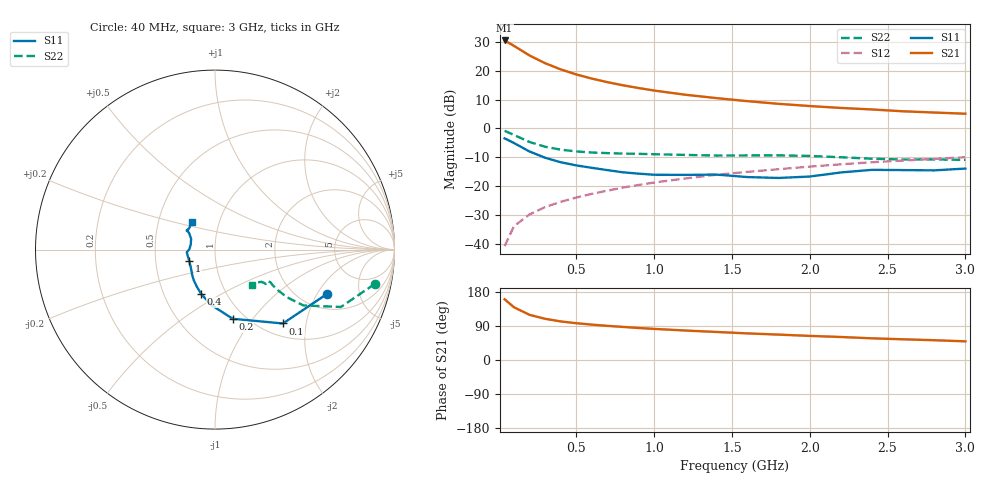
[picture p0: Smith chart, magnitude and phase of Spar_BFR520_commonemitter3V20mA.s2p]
! Filename:  BFR520E.S2P  Version:  2.1
! NXP part #: BFR520  Date: Sep 1991
! Bias condition: Vce=3V, Ic=20mA
#  MHz  S  MA  R  50
! Freq  S11  S21  S12  S22  !GUM [dB]
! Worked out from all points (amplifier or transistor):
!   21 points, 40 MHz to 3 GHz, reference 50 ohm
!   highest |S21| = 30.6 dB at 40 MHz (marker M1)
!   |S21| within 3 dB of that: start of sweep to 133.7 MHz
!   unconditionally stable (mu >= 1): 780.2 MHz to end of sweep
!   at 300 MHz: K = 0.80, MSG = 25.0 dB, |S12| = -27.3 dB
!   at 1 GHz: K = 1.02, MAG = 15.1 dB, |S12| = -18.8 dB
!   at 3 GHz: K = 1.01, MAG = 7.0 dB, |S12| = -10.0 dB
!   lowest NFmin = 1.45 dB at 500 MHz
!   S11 on the Smith chart (normalised r, x): 40 MHz: 2.74, -2.46; 100 MHz: 1.24, -1.48; 200 MHz: 0.88, -0.80; 400 MHz: 0.76, -0.41; 1 GHz: 0.74, -0.10; 3 GHz: 0.74, +0.24
40  0.673 -21.4  33.85 160.2  0.009 79.8  0.911 -12.1
100  0.559 -47.4  27.29 139.2  0.02 71.7  0.771 -24.5
200  0.398 -75.6  18.57 119.2  0.032 68.0  0.582 -32.3
300  0.31 -93.7  13.63 108.7  0.043 68.9  0.482 -33.5
400  0.259 -107.3  10.65 101.8  0.053 70.4  0.428 -33.0
500  0.228 -116.8  8.69 97.1  0.063 71.2  0.399 -32.4
600  0.207 -125.0  7.358 93.4  0.073 72.2  0.382 -31.9
700  0.189 -132.4  6.382 90.1  0.083 73.1  0.373 -31.5
800  0.173 -139.8  5.631 87.3  0.094 73.5  0.366 -30.9
900  0.164 -146.8  5.048 84.5  0.104 73.5  0.362 -30.7
1000  0.157 -155.3  4.563 82.1  0.115 73.9  0.357 -30.5
1200  0.156 -167.5  3.859 77.8  0.135 73.4  0.347 -30.8
1400  0.158 -174.5  3.37 74.0  0.157 72.7  0.338 -32.4
1600  0.143 179.1  2.981 70.2  0.176 71.8  0.34 -33.1
1800  0.138 168.4  2.68 67.0  0.196 71.3  0.341 -34.2
2000  0.146 155.6  2.454 63.6  0.217 69.9  0.333 -34.1
2200  0.172 147.2  2.272 60.7  0.238 68.8  0.316 -34.7
2400  0.191 145.8  2.14 57.2  0.259 67.6  0.298 -37.7
2600  0.189 146.0  1.987 54.6  0.277 66.2  0.289 -41.7
2800  0.187 140.0  1.893 52.2  0.296 65.2  0.29 -44.0
3000  0.201 129.8  1.804 49.2  0.316 63.8  0.284 -43.9
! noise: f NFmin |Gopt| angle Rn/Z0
500  1.45  0.09  32  0.21
900  1.6  0.08  76  0.21
1000  1.65  0.07  78  0.23
2000  2.2  0.21  -154  0.17
